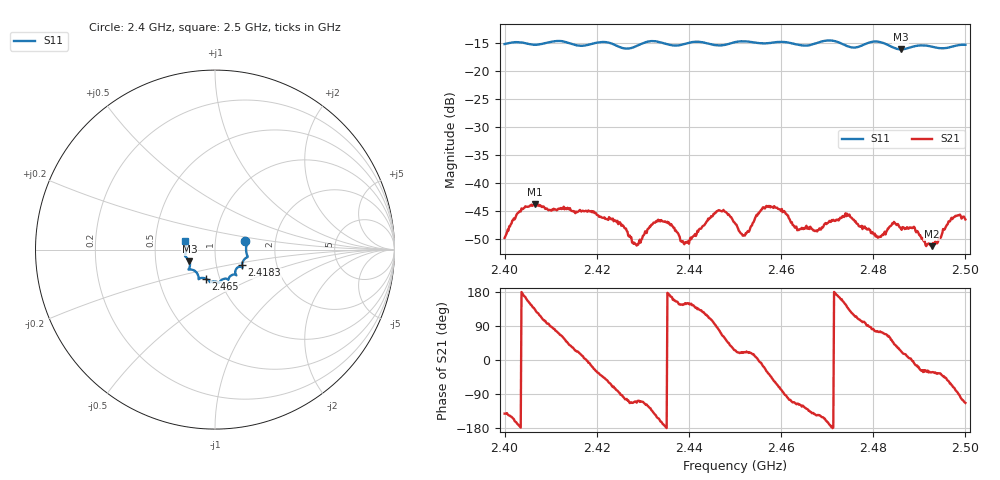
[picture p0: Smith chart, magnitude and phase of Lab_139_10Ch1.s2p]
# Hz S RI R 50
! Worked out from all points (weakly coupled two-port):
!   601 points, 2.4 GHz to 2.5 GHz, reference 50 ohm
!   highest |S21| = -43.76 dB at 2.4065 GHz (marker M1); lowest = -51.3 dB at 2.4927 GHz (marker M2)
!   lowest |S11| = -16.1 dB at 2.486 GHz (marker M3), VSWR 1.37, Z = 37.2 - j4.99 ohm
!   |S11| at or under -10 dB: start of sweep to end of sweep
!   S12 and S22 are empty: the file has one direction only
!   S11 on the Smith chart (normalised r, x): 2.4 GHz: 1.40, +0.14; 2.4183 GHz: 1.33, -0.24; 2.465 GHz: 0.86, -0.29; 2.5 GHz: 0.71, +0.07
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2.4e9  0.1689 0.0469  -0.00253 -0.00201  0 0  0 0
2.403167e9  0.1791 0.0324  -0.00554 -0.000617  0 0  0 0
2.4065e9  0.1726 0.0029  -0.00457 0.0046  0 0  0 0
2.416667e9  0.1547 -0.0684  0.00543 0.00122  0 0  0 0
2.418333e9  0.15 -0.0869  0.0056 -0.000716  0 0  0 0
2.425333e9  0.1311 -0.0966  -0.00016 -0.00415  0 0  0 0
2.4285e9  0.1129 -0.1237  -0.000997 -0.00265  0 0  0 0
2.433333e9  0.1177 -0.1412  -0.00423 -0.00208  0 0  0 0
2.4395e9  0.0768 -0.1599  -0.0025 0.00152  0 0  0 0
2.446333e9  0.0507 -0.163  0.000738 0.00564  0 0  0 0
2.45e9  0.0263 -0.1804  0.00395 0.0019  0 0  0 0
2.452167e9  0.0212 -0.1841  0.00318 0.00121  0 0  0 0
2.457333e9  -0.0122 -0.1783  0.00502 -0.00371  0 0  0 0
2.465e9  -0.0523 -0.1615  -0.00221 -0.00329  0 0  0 0
2.466667e9  -0.0712 -0.1577  -0.003 -0.00249  0 0  0 0
2.474333e9  -0.0963 -0.1376  -0.00404 0.00346  0 0  0 0
2.481e9  -0.1474 -0.1103  0.000822 0.00314  0 0  0 0
2.483333e9  -0.1412 -0.0964  0.00174 0.00353  0 0  0 0
2.486e9  -0.1428 -0.0654  0.00358 0.00157  0 0  0 0
2.492667e9  -0.1647 -0.0232  0.00231 -0.00146  0 0  0 0
2.497333e9  -0.1643 0.03  0.00153 -0.00464  0 0  0 0
2.5e9  -0.1664 0.0466  -0.00186 -0.00435  0 0  0 0
